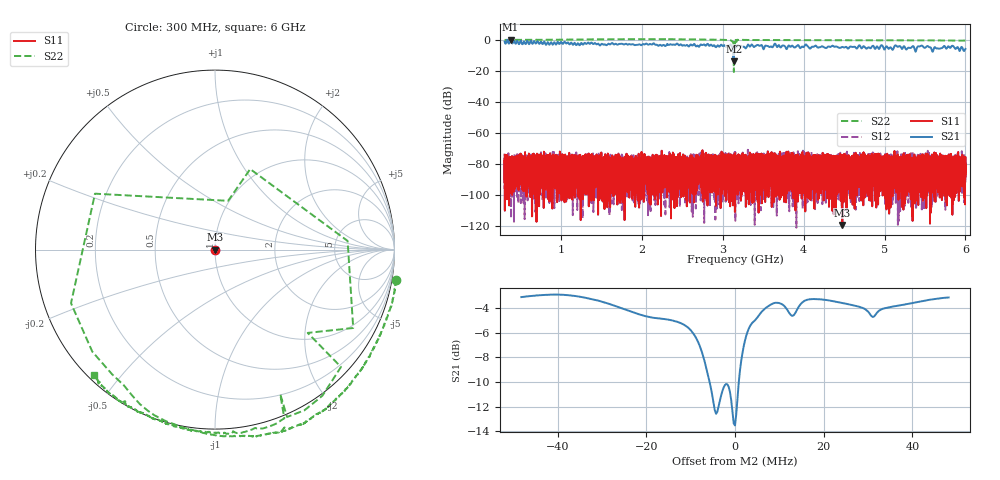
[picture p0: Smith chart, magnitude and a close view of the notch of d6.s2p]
!Agilent Technologies,N5230C,SG49000117,A.08.50.07
!Agilent N5230C: A.08.50.07
!Date: Monday, March 18, 2024 18:04:14
!Correction: S11(Off)
!S21(Off)
!S12(Off)
!S22(Full 1 Port(2))
!S2P File: Measurements: S11, S21, S12, S22:
# Hz S  RI  R 50
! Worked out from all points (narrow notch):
!   20001 points, 300 MHz to 6 GHz, reference 50 ohm
!   highest |S21| = 0.45 dB at 374.1 MHz (marker M1); lowest = -13.5 dB at 3.136 GHz (marker M2)
!   notch at M2: 10.0 dB deep, 8.05 MHz wide at half that depth
!   lowest |S11| = -119.3 dB at 4.478 GHz (marker M3), VSWR 1.00, Z = 50 + j7.5e-05 ohm
!   |S11| at or under -10 dB: start of sweep to end of sweep
!   |S22| runs from -20.5 to 0.7 dB; largest |S21 - S12| = 1.1
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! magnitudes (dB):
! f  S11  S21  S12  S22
! 300 MHz  -73.9  -0.9  -80.7  0.2
! 328.8 MHz  -77.4  0.1  -85.2  0.2
! 374.1 MHz  -78.8  0.4  -85.5  0.2
! 1.25 GHz  -96.8  -1.7  -91.4  0.5
! 2.2 GHz  -88.9  -3.6  -79.7  0.7
! 3.051 GHz  -79.9  -3.8  -90.9  0.1
! 3.086 GHz  -87.2  -3.2  -83.2  0.0
! 3.136 GHz  -80.5  -13.5  -91.1  -13.7
! 3.15 GHz  -86.5  -4.4  -85.9  -2.7
! 3.199 GHz  -78.5  -3.6  -75.5  0.2
! 3.975 GHz  -82.9  -4.2  -81.4  0.0
! 4.031 GHz  -80.9  -2.8  -77.1  0.0
! 4.1 GHz  -84.3  -4.2  -88.7  0.0
! 4.478 GHz  -119.3  -4.3  -82.9  0.0
! 5.05 GHz  -81.1  -5.5  -77.8  0.0
! 5.154 GHz  -93.5  -4.0  -78.6  0.0
! 5.39 GHz  -80.8  -6.8  -81.8  -0.1
! 5.449 GHz  -88.1  -3.6  -83.3  -0.1
! 5.603 GHz  -84.4  -6.5  -78.5  -0.1
! 5.84 GHz  -81.3  -3.5  -90.0  -0.2
! 5.971 GHz  -80.6  -5.9  -82.0  -0.2
! 6 GHz  -84.6  -5.6  -76.4  -0.2
